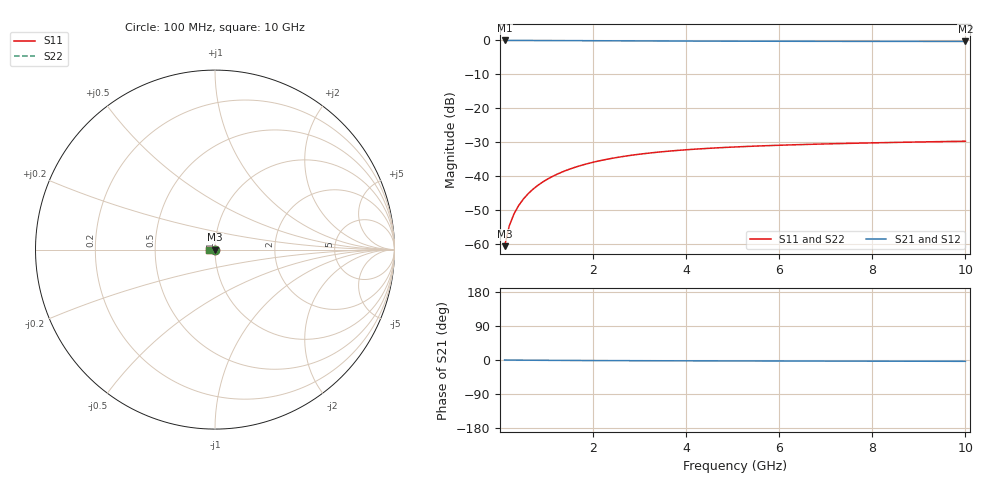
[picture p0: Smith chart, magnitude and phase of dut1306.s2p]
! Touchstone file exported from HFSS 2024.1.0
!  File:  C:/UserFiles/LocalFiles/RDL_TSV_Batchsim/temp_TSV1_1306_1780372997.aedt
!  Generated:  12:10:02 PM Jun  2, 2026
!  Design:  TSV1
!  Project:  temp_TSV1_1306_1780372997
!  Setup:  Setup1
!  Solution:  Sweep
! Variables:
!  dtsv = 12.18um
!  hbump = 3um
!  htsv = 50.4um
!  lrdl = 252.1521522um
!  p = 40
!  p1 = 51.9um
!  t = 500um
!  trdl = 3um
!  wrdl = 24.89489489um
# GHz S MA R 50.000000
! Terminal data exported
! Port[1] = TSV22_T1
! Port[2] = TSV22_T2
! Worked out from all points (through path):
!   100 points, 100 MHz to 10 GHz, reference 50 ohm
!   highest |S21| = 0.00 dB at 100 MHz (marker M1); lowest = -0.3 dB at 10 GHz (marker M2)
!   lowest |S11| = -60.8 dB at 100 MHz (marker M3), VSWR 1.00, Z = 50 - j0.0916 ohm
!   |S11| at or under -10 dB: start of sweep to end of sweep
!   |S22| runs from -60.8 to -29.8 dB; largest |S21 - S12| = 5.3e-15
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0.1  0.0009166 -87.2  0.9999 -0.1  0.9999 -0.1  0.0009166 -87.2
! Gamma 0 0 0 0
! Port Impedance 50 0 50 0
0.2  0.001826 -91.3  0.9998 -0.2  0.9998 -0.2  0.001826 -91.3
0.3  0.002733 -93.9  0.9996 -0.3  0.9996 -0.3  0.002733 -93.9
0.4  0.003633 -96.1  0.9994 -0.4  0.9994 -0.4  0.003633 -96.1
0.5  0.004525 -98.2  0.9992 -0.4  0.9992 -0.4  0.004525 -98.2
0.6  0.005406 -100.1  0.9988 -0.5  0.9988 -0.5  0.005406 -100.1
0.7  0.006274 -102.0  0.9984 -0.6  0.9984 -0.6  0.006274 -102.0
0.8  0.007129 -103.8  0.998 -0.7  0.998 -0.7  0.007129 -103.8
0.9  0.007968 -105.6  0.9976 -0.8  0.9976 -0.8  0.007968 -105.6
1.1  0.009594 -109.1  0.9965 -0.9  0.9965 -0.9  0.009594 -109.1
1.4  0.01189 -114.1  0.9948 -1.1  0.9948 -1.1  0.01189 -114.1
1.6  0.01331 -117.3  0.9935 -1.2  0.9935 -1.2  0.01331 -117.3
1.8  0.01465 -120.3  0.9923 -1.3  0.9923 -1.3  0.01465 -120.3
2.1  0.01648 -124.5  0.9903 -1.5  0.9903 -1.5  0.01648 -124.5
2.5  0.01864 -129.8  0.9878 -1.7  0.9878 -1.7  0.01864 -129.8
2.9  0.02049 -134.5  0.9854 -1.8  0.9854 -1.8  0.02049 -134.5
3.4  0.02243 -139.8  0.9826 -2.0  0.9826 -2.0  0.02243 -139.8
4.2  0.02484 -147.0  0.9789 -2.2  0.9789 -2.2  0.02484 -147.0
5.1  0.02683 -153.7  0.9755 -2.4  0.9755 -2.4  0.02683 -153.7
6.7  0.02929 -163.0  0.9713 -2.8  0.9713 -2.8  0.02929 -163.0
8.4  0.03113 -171.0  0.9684 -3.1  0.9684 -3.1  0.03113 -171.0
10  0.03253 -177.4  0.9664 -3.5  0.9664 -3.5  0.03253 -177.4
